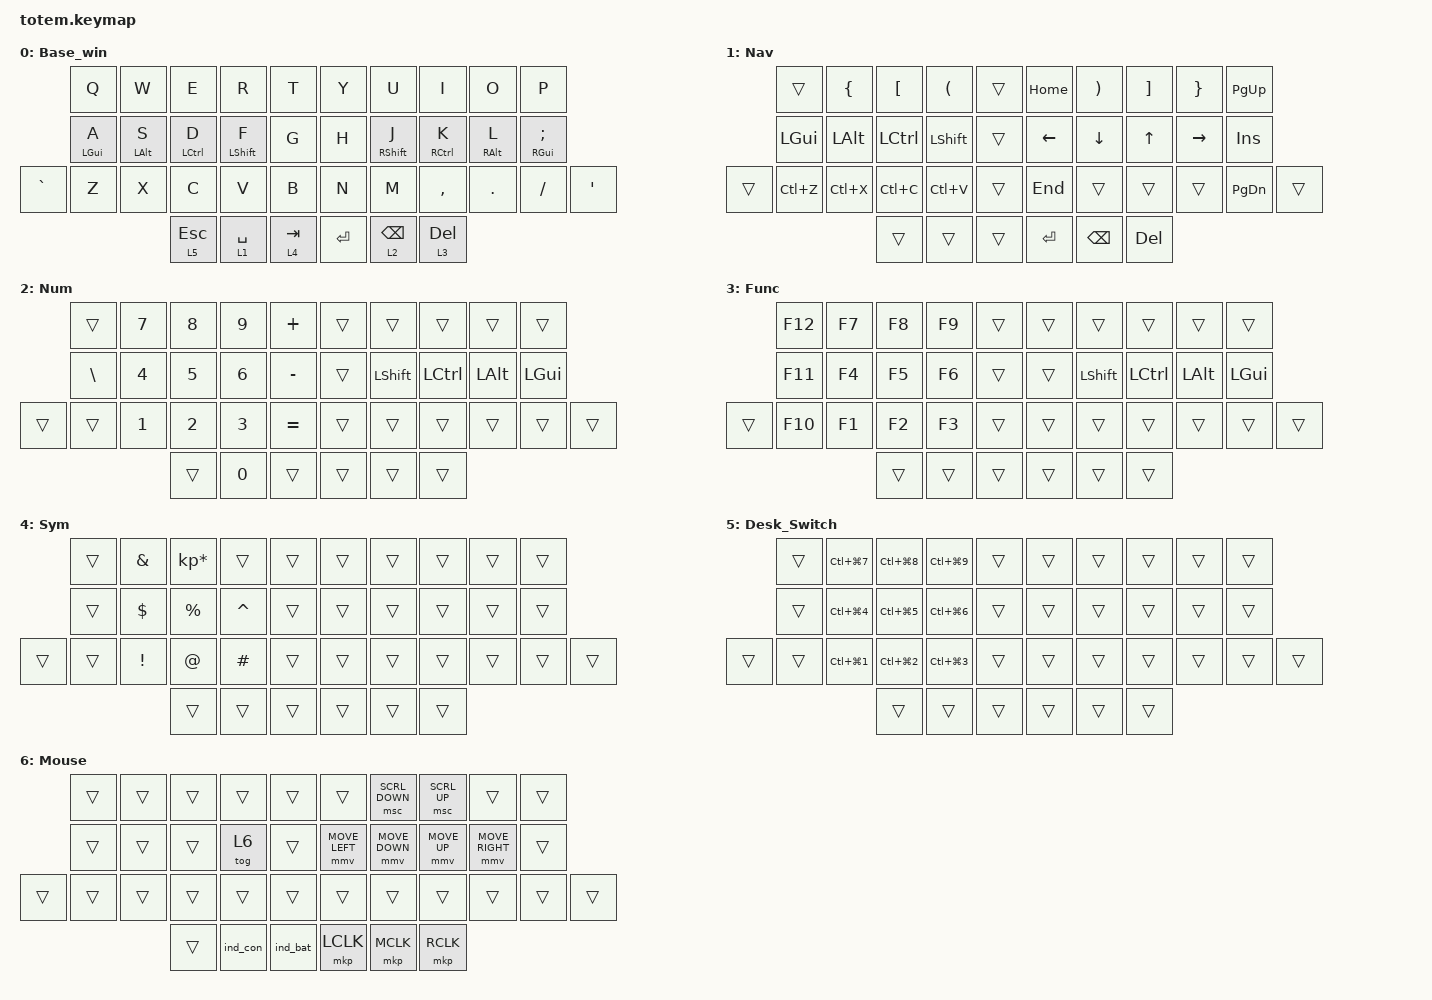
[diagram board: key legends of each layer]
//
//                                                        ▀▀▀▀▀     ▀▀▀▀▀          ▀▀█▀▀
//                                                        ▄▀▀▀▄  ▄  ▄▀▀▀▄  ▄  ▄▀▀▀▄  █  ▄▀▀▀▄
//                                                        █   █  █  █   █  █  █   █  █  █   █
//                                                         ▀▀▀   █   ▀▀▀   █   ▀▀▀   ▀   ▀▀▀
//                                                               █      ▄▄▄█▄▄▄    █   █
//                                                               ▀      █  █  █     █▄█
//                                                             ▀▀▀▀▀    █  █  █      ▀
//                                                                      ▀  ▀  ▀
//
// ▄▄▄▄▄▄▄▄▄▄▄▄▄▄▄▄▄▄▄▄▄▄▄▄▄▄▄▄▄▄▄▄▄▄▄▄▄▄▄▄▄▄▄▄▄▄▄▄▄▄▄▄▄▄▄▄▄▄▄▄▄▄▄▄▄▄▄▄▄▄▄▄▄▄▄▄▄▄▄▄▄▄▄▄▄▄▄▄▄▄▄▄▄▄▄▄▄▄▄▄▄▄▄▄▄▄▄▄▄▄▄▄▄▄▄▄▄▄▄▄▄▄▄▄▄▄▄▄▄▄▄▄▄▄▄▄▄▄▄▄▄▄▄▄▄▄▄▄▄

#define ZMK_POINTING_DEFAULT_MOVE_VAL 1500  // default: 600
#define ZMK_POINTING_DEFAULT_SCRL_VAL 20    // default: 10

#include <behaviors.dtsi>
#include <behaviors/rgbled_widget.dtsi>
#include <dt-bindings/zmk/keys.h>
#include <dt-bindings/zmk/pointing.h>

#define Base        0
#define Nav         1
#define Num         2
#define Func        3
#define Sym         4
#define Desk_Switch 5
#define Mouse       6

/ {
    behaviors {
        hm_l: homerow_mods_l {
            compatible = "zmk,behavior-hold-tap";
            label = "HOMEROW_MODS_LEFT";
            flavor = "tap-preferred";
            tapping-term-ms = <150>;
            quick-tap-ms = <200>;
            bindings = <&kp>, <&kp>;

            #binding-cells = <2>;
            hold-trigger-key-positions = <5 6 7 8 9 15 16 17 18 19 26 27 28 29 30 31 35 36 37 11 12 13 34 33>;
        };

        hm_r: homerow_mods_r {
            compatible = "zmk,behavior-hold-tap";
            label = "HOMEROW_MODS_RIGHT";
            flavor = "tap-preferred";
            tapping-term-ms = <150>;
            quick-tap-ms = <200>;
            bindings = <&kp>, <&kp>;

            #binding-cells = <2>;
            hold-trigger-key-positions = <0 1 2 3 4 10 11 12 13 14 20 21 22 23 24 25 32 33 34 16 17 18>;
        };

        hm_meta_l: hm_meta_l {
            compatible = "zmk,behavior-hold-tap";
            flavor = "balanced";
            tapping-term-ms = <200>;
            quick-tap-ms = <150>;
            require-prior-idle-ms = <150>;
            bindings = <&kp>, <&kp>;

            #binding-cells = <2>;
            hold-trigger-key-positions = <5 6 7 8 9 15 16 17 18 19 26 27 28 29 30 31 35 36 37 34 33>;
        };

        hm_meta_r: hh_meta_r {
            compatible = "zmk,behavior-hold-tap";
            flavor = "balanced";
            tapping-term-ms = <200>;
            quick-tap-ms = <150>;
            require-prior-idle-ms = <150>;
            bindings = <&kp>, <&kp>;

            #binding-cells = <2>;
            hold-trigger-key-positions = <0 1 2 3 4 10 11 12 13 14 20 21 22 23 24 25 32 33 34>;
        };
    };

    combos {
        compatible = "zmk,combos";

        WinNav {
            bindings = <&sl 5>;
            key-positions = <13 16>;
        };

        toggle_mouse {
            bindings = <&tog 6>;
            key-positions = <33 36>;
        };
    };

    keymap {
        compatible = "zmk,keymap";

        Base {
            display-name = "Base_win";
            bindings = <
           &kp Q              &kp W         &kp E          &kp R           &kp T        &kp Y      &kp U          &kp I          &kp O         &kp P
           &hm_meta_l LGUI A  &hm_l LALT S  &hm_l LCTRL D  &hm_l LSHIFT F  &kp G        &kp H      &hm_r RSHFT J  &hm_r RCTRL K  &hm_r RALT L  &hm_meta_r RGUI SEMICOLON
&kp GRAVE  &kp Z              &kp X         &kp C          &kp V           &kp B        &kp N      &kp M          &kp COMMA      &kp DOT       &kp SLASH                  &kp SINGLE_QUOTE
                                            &lt 5 ESCAPE   &lt 1 SPACE     &lt 4 TAB    &kp ENTER  &lt 2 BSPC     &lt 3 DELETE
            >;

            label = "Base";
        };

        Nav {
            bindings = <
        &trans     &kp LEFT_BRACE  &kp LEFT_BRACKET  &kp LEFT_PARENTHESIS  &trans    &kp HOME        &kp RIGHT_PARENTHESIS  &kp RIGHT_BRACKET  &kp RIGHT_BRACE  &kp PAGE_UP
        &kp LGUI   &kp LALT        &kp LCTRL         &kp LSHFT             &trans    &kp LEFT_ARROW  &kp DOWN_ARROW         &kp UP_ARROW       &kp RIGHT_ARROW  &kp INS
&trans  &kp LC(Z)  &kp LC(X)       &kp LC(C)         &kp LC(V)             &trans    &kp END         &trans                 &trans             &trans           &kp PAGE_DOWN  &trans
                                   &trans            &trans                &trans    &kp ENTER       &kp BSPC               &kp DEL
            >;

            label = "Nav";
        };

        Num {
            bindings = <
        &trans         &kp N7  &kp N8  &kp N9  &kp PLUS     &trans  &trans     &trans     &trans    &trans
        &kp BACKSLASH  &kp N4  &kp N5  &kp N6  &kp MINUS    &trans  &kp LSHFT  &kp LCTRL  &kp LALT  &kp LGUI
&trans  &trans         &kp N1  &kp N2  &kp N3  &kp EQUAL    &trans  &trans     &trans     &trans    &trans    &trans
                               &trans  &kp N0  &trans       &trans  &trans     &trans
            >;

            label = "Num";
        };

        Func {
            bindings = <
        &kp F12  &kp F7  &kp F8  &kp F9  &trans    &trans  &trans     &trans     &trans    &trans
        &kp F11  &kp F4  &kp F5  &kp F6  &trans    &trans  &kp LSHFT  &kp LCTRL  &kp LALT  &kp LGUI
&trans  &kp F10  &kp F1  &kp F2  &kp F3  &trans    &trans  &trans     &trans     &trans    &trans    &trans
                         &trans  &trans  &trans    &trans  &trans     &trans
            >;

            label = "Func";
        };

        Sym {
            bindings = <
        &trans  &kp AMPERSAND  &kp KP_MULTIPLY  &trans     &trans    &trans  &trans  &trans  &trans  &trans
        &trans  &kp DOLLAR     &kp PERCENT      &kp CARET  &trans    &trans  &trans  &trans  &trans  &trans
&trans  &trans  &kp EXCL       &kp AT           &kp HASH   &trans    &trans  &trans  &trans  &trans  &trans  &trans
                               &trans           &trans     &trans    &trans  &trans  &trans
            >;

            label = "Sym";
        };

        Desk_Switch {
            bindings = <
        &trans  &kp LC(LG(N7))        &kp LC(LG(N8))  &kp LC(LG(N9))  &trans    &trans  &trans  &trans  &trans  &trans
        &trans  &kp LC(LG(N4))        &kp LC(LG(N5))  &kp LC(LG(N6))  &trans    &trans  &trans  &trans  &trans  &trans
&trans  &trans  &kp LC(LG(NUMBER_1))  &kp LC(LG(N2))  &kp LC(LG(N3))  &trans    &trans  &trans  &trans  &trans  &trans  &trans
                                      &trans          &trans          &trans    &trans  &trans  &trans
            >;

            label = "Desk_Switch";
        };

        Mouse {
            bindings = <
        &trans  &trans  &trans  &trans  &trans    &trans          &msc SCRL_DOWN  &msc SCRL_UP  &trans           &trans
        &trans  &trans  &trans  &tog 6  &trans    &mmv MOVE_LEFT  &mmv MOVE_DOWN  &mmv MOVE_UP  &mmv MOVE_RIGHT  &trans
&trans  &trans  &trans  &trans  &trans  &trans    &trans          &trans          &trans        &trans           &trans  &trans
                    &trans  &ind_con  &ind_bat    &mkp LCLK       &mkp MCLK       &mkp RCLK
            >;

            label = "Mouse";
        };
    };
};
